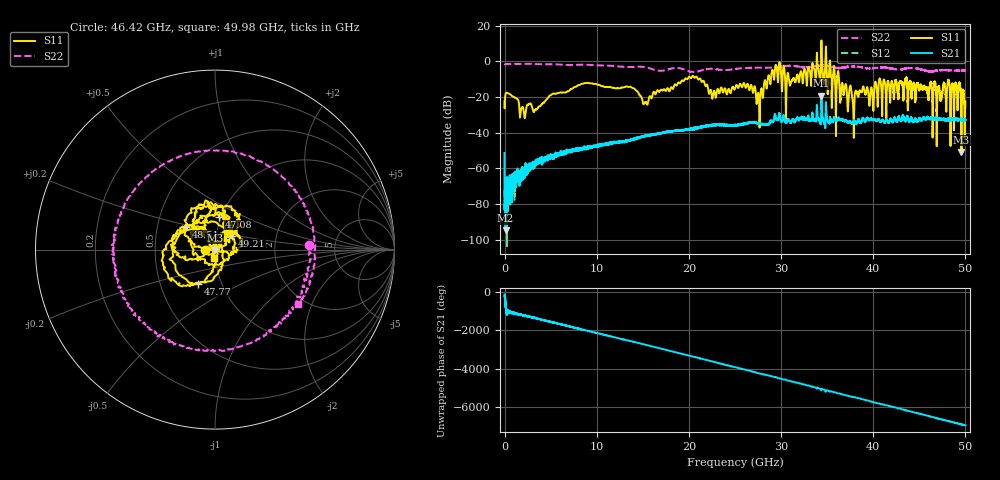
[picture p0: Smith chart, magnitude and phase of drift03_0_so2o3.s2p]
!Created with skrf (http://scikit-rf.org).
# Hz S RI R 50.0
!freq ReS11 ImS11 ReS21 ImS21 ReS12 ImS12 ReS22 ImS22
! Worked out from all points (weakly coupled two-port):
!   10001 points, 300 kHz to 50 GHz, reference 50 ohm
!   highest |S21| = -19.17 dB at 34.38 GHz (marker M1); lowest = -94.9 dB at 100.3 MHz (marker M2)
!   lowest |S11| = -50.8 dB at 49.58 GHz (marker M3), VSWR 1.01, Z = 49.9 - j0.277 ohm
!   |S11| at or under -10 dB: start of sweep to 19.56 GHz; 21.26 GHz to 28.55 GHz (7.293 GHz wide, 29.3 % of centre); 43.64 GHz to end of sweep (the widest 3 of 27)
!   |S22| runs from -6.0 to -1.3 dB; largest |S21 - S12| = 0.018
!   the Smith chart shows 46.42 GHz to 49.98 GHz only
!   S11 on the Smith chart (normalised r, x): 46.42 GHz: 0.89, -0.00; 47.08 GHz: 0.98, +0.37; 47.77 GHz: 0.78, -0.31; 48.51 GHz: 0.70, +0.19; 49.21 GHz: 1.20, +0.19; 49.98 GHz: 0.99, -0.10
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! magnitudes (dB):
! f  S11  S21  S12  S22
! 300 kHz  -22.1  -51.3  -60.4  -2.1
! 100.3 MHz  -18.3  -94.9  -81.9  -1.5
! 3.3 GHz  -27.3  -57.2  -58.0  -1.5
! 8.335 GHz  -12.6  -49.4  -49.0  -1.9
! 15.28 GHz  -22.9  -41.9  -41.8  -3.3
! 16.67 GHz  -16.5  -40.6  -40.6  -5.2
! 25 GHz  -15.3  -35.5  -35.9  -4.2
! 27.52 GHz  -17.7  -34.6  -34.6  -3.5
! 29.28 GHz  -9.0  -31.1  -30.7  -3.4
! 30.72 GHz  -6.5  -33.0  -32.8  -2.5
! 33.34 GHz  -7.2  -32.0  -32.1  -2.9
! 34.38 GHz  11.7  -19.2  -20.2  -2.3
! 37.86 GHz  -30.6  -33.6  -34.1  -2.9
! 41.67 GHz  -12.1  -34.3  -34.4  -3.7
! 46.42 GHz  -24.8  -31.7  -31.8  -5.6
! 47.08 GHz  -14.6  -32.2  -32.4  -5.0
! 47.77 GHz  -13.5  -32.7  -32.7  -4.9
! 48.51 GHz  -13.8  -33.1  -32.5  -5.1
! 49.21 GHz  -18.1  -32.7  -32.6  -5.2
! 49.58 GHz  -50.8  -32.0  -32.7  -5.0
! 49.98 GHz  -26.2  -33.2  -32.9  -5.1
! 50 GHz  -22.4  -32.7  -32.7  -5.0
